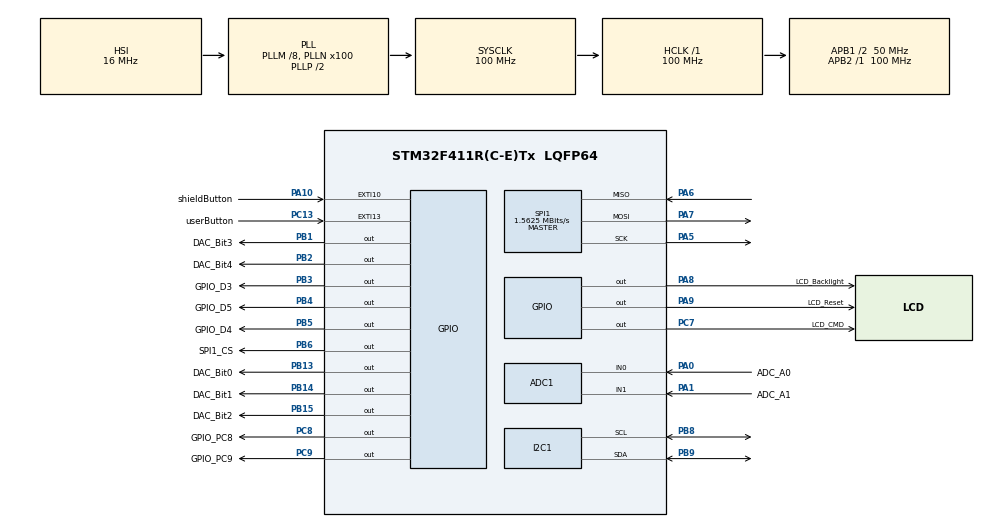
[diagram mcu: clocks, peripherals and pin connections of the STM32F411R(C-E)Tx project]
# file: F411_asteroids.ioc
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ADC1.Channel-0\#ChannelRegularConversion=ADC_CHANNEL_0
ADC1.Channel-1\#ChannelRegularConversion=ADC_CHANNEL_1
ADC1.ClockPrescaler=ADC_CLOCK_SYNC_PCLK_DIV8
ADC1.ContinuousConvMode=ENABLE
ADC1.DMAContinuousRequests=ENABLE
ADC1.EOCSelection=ADC_EOC_SEQ_CONV
ADC1.NbrOfConversion=2
ADC1.NbrOfConversionFlag=1
ADC1.Rank-0\#ChannelRegularConversion=1
ADC1.Rank-1\#ChannelRegularConversion=2
ADC1.SamplingTime-0\#ChannelRegularConversion=ADC_SAMPLETIME_480CYCLES
ADC1.SamplingTime-1\#ChannelRegularConversion=ADC_SAMPLETIME_480CYCLES
ADC1.ScanConvMode=ENABLE
ADC1.master=1
Dma.ADC1.0.Direction=DMA_PERIPH_TO_MEMORY
Dma.ADC1.0.FIFOMode=DMA_FIFOMODE_DISABLE
Dma.ADC1.0.Instance=DMA2_Stream0
Dma.ADC1.0.MemDataAlignment=DMA_MDATAALIGN_WORD
Dma.ADC1.0.MemInc=DMA_MINC_ENABLE
Dma.ADC1.0.Mode=DMA_CIRCULAR
Dma.ADC1.0.PeriphDataAlignment=DMA_PDATAALIGN_WORD
Dma.ADC1.0.PeriphInc=DMA_PINC_DISABLE
Dma.ADC1.0.Priority=DMA_PRIORITY_LOW
Dma.Request0=ADC1
Mcu.Family=STM32F4
Mcu.Name=STM32F411R(C-E)Tx
Mcu.Package=LQFP64
NVIC.DMA2_Stream0_IRQn=true\:0\:0\:false\:false\:true\:false
NVIC.EXTI15_10_IRQn=true\:0\:0\:false\:false\:true\:true
NVIC.PriorityGroup=NVIC_PRIORITYGROUP_4
NVIC.TIM1_UP_TIM10_IRQn=true\:0\:0\:false\:false\:true\:false
NVIC.TIM2_IRQn=true\:0\:0\:false\:false\:true\:true
NVIC.TIM3_IRQn=true\:0\:0\:false\:false\:true\:true
NVIC.TimeBase=TIM1_UP_TIM10_IRQn
NVIC.TimeBaseIP=TIM1
PA0-WKUP.GPIO_Label=ADC_A0
PA0-WKUP.Signal=ADCx_IN0
PA1.GPIO_Label=ADC_A1
PA1.Signal=ADCx_IN1
PA10.GPIO_Label=shieldButton
PA10.GPIO_ModeDefaultEXTI=GPIO_MODE_IT_FALLING
PA10.GPIO_PuPd=GPIO_PULLUP
PA10.Signal=GPXTI10
PA13.Mode=Serial_Wire
PA13.Signal=SYS_JTMS-SWDIO
PA14.Mode=Serial_Wire
PA14.Signal=SYS_JTCK-SWCLK
PA5.Mode=Full_Duplex_Master
PA5.Signal=SPI1_SCK
PA6.Mode=Full_Duplex_Master
PA6.Signal=SPI1_MISO
PA7.Mode=Full_Duplex_Master
PA7.Signal=SPI1_MOSI
PA8.GPIO_Label=LCD_Backlight
PA8.Signal=GPIO_Output
PA9.GPIO_Label=LCD_Reset
PA9.Signal=GPIO_Output
PB1.GPIO_Label=DAC_Bit3
PB1.Signal=GPIO_Output
PB13.GPIO_Label=DAC_Bit0
PB13.Signal=GPIO_Output
PB14.GPIO_Label=DAC_Bit1
PB14.Signal=GPIO_Output
PB15.GPIO_Label=DAC_Bit2
PB15.Signal=GPIO_Output
PB2.GPIO_Label=DAC_Bit4
PB2.Signal=GPIO_Output
PB3.GPIO_Label=GPIO_D3
PB3.Signal=GPIO_Output
PB4.GPIO_Label=GPIO_D5
PB4.Signal=GPIO_Output
PB5.GPIO_Label=GPIO_D4
PB5.Signal=GPIO_Output
PB6.GPIO_Label=SPI1_CS
PB6.Signal=GPIO_Output
PB8.Mode=I2C
PB8.Signal=I2C1_SCL
PB9.Mode=I2C
PB9.Signal=I2C1_SDA
PC13-ANTI_TAMP.GPIO_Label=userButton
PC13-ANTI_TAMP.GPIO_ModeDefaultEXTI=GPIO_MODE_IT_FALLING
PC13-ANTI_TAMP.GPIO_PuPd=GPIO_PULLUP
PC13-ANTI_TAMP.Signal=GPXTI13
PC7.GPIO_Label=LCD_CMD
PC7.Signal=GPIO_Output
PC8.GPIO_Label=GPIO_PC8
PC8.Signal=GPIO_Output
PC9.GPIO_Label=GPIO_PC9
PC9.Signal=GPIO_Output
ProjectManager.HeapSize=0x200
ProjectManager.StackSize=0x1000
ProjectManager.TargetToolchain=TrueSTUDIO
RCC.48MHZClocksFreq_Value=50000000
RCC.AHBFreq_Value=100000000
RCC.APB1CLKDivider=RCC_HCLK_DIV2
RCC.APB1Freq_Value=50000000
RCC.APB1TimFreq_Value=100000000
RCC.APB2Freq_Value=100000000
RCC.APB2TimFreq_Value=100000000
RCC.CortexFreq_Value=100000000
RCC.HCLKFreq_Value=100000000
RCC.HSE_VALUE=25000000
RCC.HSI_VALUE=16000000
RCC.LSE_VALUE=32768
RCC.PLLM=8
RCC.PLLN=100
RCC.SYSCLKFreq_VALUE=100000000
RCC.SYSCLKSource=RCC_SYSCLKSOURCE_PLLCLK
RCC.VCOOutputFreq_Value=200000000
SH.ADCx_IN0.0=ADC1_IN0,IN0
SH.ADCx_IN1.0=ADC1_IN1,IN1
SPI1.BaudRatePrescaler=SPI_BAUDRATEPRESCALER_64
SPI1.CalculateBaudRate=1.5625 MBits/s
SPI1.Direction=SPI_DIRECTION_2LINES
SPI1.Mode=SPI_MODE_MASTER
SPI1.VirtualType=VM_MASTER
TIM2.Period=999
TIM2.Prescaler=99
TIM3.Period=1020
TIM3.Prescaler=8
VP_SYS_VS_tim1.Mode=TIM1
VP_TIM2_VS_ClockSourceINT.Mode=Internal
VP_TIM3_VS_ClockSourceINT.Mode=Internal
board=F411_asteroids

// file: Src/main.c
/**
  ******************************************************************************
  * File Name          : main.c
  * Description        : Main program body
  ******************************************************************************
  ** This notice applies to any and all portions of this file
  * that are not between comment pairs USER CODE BEGIN and
  * USER CODE END. Other portions of this file, whether
  * inserted by the user or by software development tools
  * are owned by their respective copyright owners.
  *
  * COPYRIGHT(c) 2018 STMicroelectronics
  *
  * Redistribution and use in source and binary forms, with or without modification,
  * are permitted provided that the following conditions are met:
  *   1. Redistributions of source code must retain the above copyright notice,
  *      this list of conditions and the following disclaimer.
  *   2. Redistributions in binary form must reproduce the above copyright notice,
  *      this list of conditions and the following disclaimer in the documentation
  *      and/or other materials provided with the distribution.
  *   3. Neither the name of STMicroelectronics nor the names of its contributors
  *      may be used to endorse or promote products derived from this software
  *      without specific prior written permission.
  *
  * THIS SOFTWARE IS PROVIDED BY THE COPYRIGHT HOLDERS AND CONTRIBUTORS "AS IS"
  * AND ANY EXPRESS OR IMPLIED WARRANTIES, INCLUDING, BUT NOT LIMITED TO, THE
  * IMPLIED WARRANTIES OF MERCHANTABILITY AND FITNESS FOR A PARTICULAR PURPOSE ARE
  * DISCLAIMED. IN NO EVENT SHALL THE COPYRIGHT HOLDER OR CONTRIBUTORS BE LIABLE
  * FOR ANY DIRECT, INDIRECT, INCIDENTAL, SPECIAL, EXEMPLARY, OR CONSEQUENTIAL
  * DAMAGES (INCLUDING, BUT NOT LIMITED TO, PROCUREMENT OF SUBSTITUTE GOODS OR
  * SERVICES; LOSS OF USE, DATA, OR PROFITS; OR BUSINESS INTERRUPTION) HOWEVER
  * CAUSED AND ON ANY THEORY OF LIABILITY, WHETHER IN CONTRACT, STRICT LIABILITY,
  * OR TORT (INCLUDING NEGLIGENCE OR OTHERWISE) ARISING IN ANY WAY OUT OF THE USE
  * OF THIS SOFTWARE, EVEN IF ADVISED OF THE POSSIBILITY OF SUCH DAMAGE.
  *
  ******************************************************************************
  */

#include <stdlib.h>

#include "main.h"
#include "stm32f4xx_hal.h"
#include "adc.h"
#include "dma.h"
#include "i2c.h"
#include "spi.h"
#include "tim.h"
#include "gpio.h"

/* USER CODE BEGIN Includes */
#include "lcd_12864_dfrobot.h"
#include "sprite.h"
#include "Sound.h"
#include "joystick.h"
#include "bitmap.h"
#include "eeprom.h"
#include "score.h"

/* USER CODE END Includes */

/* USER CODE BEGIN PV */
/* Private variables ---------------------------------------------------------*/

/* USER CODE END PV */

void SystemClock_Config(void);

/* USER CODE BEGIN PFP */
/* Private function prototypes -----------------------------------------------*/

/* USER CODE END PFP */

/* USER CODE BEGIN 0 */
uint32_t gCounter = 0x00;

/* USER CODE END 0 */

int main(void)
{

	/* MCU Configuration----------------------------------------------------------*/

	/* Reset of all peripherals, Initializes the Flash interface and the Systick. */
	HAL_Init();

	/* Configure the system clock */
	SystemClock_Config();

	/* Initialize all configured peripherals */
	MX_GPIO_Init();
	MX_DMA_Init();
	MX_SPI1_Init();
	MX_I2C1_Init();
	MX_ADC1_Init();
	MX_TIM2_Init();
	MX_TIM3_Init();

	/* USER CODE BEGIN 2 */
	/////////////////////////////////////////////////////////
	/////////////////////////////////////////////////////////
	LCD_Config();					//config 128x64 display
	Joystick_Config();				//DMA stream for ADC - A1
	Sound_Init();					//timers and sound
	Sprite_Init();					//game init
	LCD_BacklightOn();				//backlight

	HAL_Delay(100);					//wait a bit

	EEPROM_init();					//simple read/write check

	/////////////////////////////////////////////////
	//Clear high score. comment out if not needed
//		int result = Score_Init();
//		if (result < 0)
//			while (1){};
	//////////////////////////////////////////////////

	Sprite_SetGameOverFlag();		//start with game over

	HAL_Delay(500);

	/* USER CODE END 2 */

	/* Infinite loop */
	while (1)
	{

		/* USER CODE BEGIN 3 */
		if (Sprite_GetGameOverFlag() == 1)
		{
			Sound_Play_GameOver();

			//evaluate the high score and current score
			if (Sprite_GetGameScore() > Score_GetHighScore())
			{
				while(Sprite_GetGameOverFlag() == 1)
				{
					Score_DisplayNewHighScore(Sprite_GetGameScore(), Sprite_GetGameLevel());
					HAL_Delay(1000);
					LCD_Clear(0x00);
					HAL_Delay(1000);
				}

				//update the high score and level here
				Score_SetHighScore(Sprite_GetGameScore());
				Score_SetMaxLevel(Sprite_GetGameLevel());

				Sprite_SetGameOverFlag();
			}

			HAL_Delay(2000);
		}

		///////////////////////////////////////////////////
		//Button press while game over flag is set
		//will clear the game over flag, otherwise, it fires
		while (Sprite_GetGameOverFlag() == 1)
		{
			uint8_t buffer[SCORE_PLAYER_NAME_SIZE] = {0x00};
			uint8_t buffer2[16] = {0x00};
			uint16_t highScore = Score_GetHighScore();
			uint8_t level = Score_GetMaxLevel();
			uint8_t len = Score_GetPlayerName(buffer);

			LCD_DrawStringKernLength(1, 3, buffer, len);

			int n = sprintf((char*)buffer2, "Score:%d", highScore);
			LCD_DrawStringKernLength(2, 3, buffer2, n);

			n = sprintf((char*)buffer2, "Level:%d", level);
			LCD_DrawStringKernLength(3, 3, buffer2, n);

			LCD_DrawStringKern(5, 3, " Press Button");

			HAL_Delay(1000);
			LCD_Clear(0x00);
			HAL_Delay(1000);

			Sprite_Init();                  //reset and clear all flags
		}

		///////////////////////////////////////////
		//launch any new missiles from player? - flag set in the button isr
		if (Sprite_GetMissileLaunchFlag() == 1)
		{
			Sprite_ClearMissileLaunchFlag();
			Sprite_Missile_Launch();
		}

		///////////////////////////////////////////////////
		//Read the joystick - up, down, left, right
		//and update player orientation and thruster
		JoystickPosition_t pos = Joystick_GetPosition();

		switch(pos)
		{
			case JOYSTICK_UP:		Sprite_PlayerFireThruster();		break;
			case JOYSTICK_DOWN: 	Sprite_PlayerFlipRotation();		break;
			case JOYSTICK_LEFT:		Sprite_PlayerRotateCCW();			break;
			case JOYSTICK_RIGHT:	Sprite_PlayerRotateCW();			break;
			case JOYSTICK_PRESS:										break;
			case JOYSTICK_NONE:											break;
			default:													break;
		}

		//launch a drone ever 50 game loops
		if (!(gCounter % 50))
		{
			//random number 0 -2, launch the appropriate drone
			volatile int result = rand() % 3;
			switch (result)
			{
				case 0: 	Sprite_Drone_Launch(DRONE_TYPE_SMALL);		break;
				case 1: 	Sprite_Drone_Launch(DRONE_TYPE_MEDIUM);		break;
				case 2: 	Sprite_Drone_Launch(DRONE_TYPE_LARGE);		break;
				default:	Sprite_Drone_Launch(DRONE_TYPE_SMALL);		break;
			}
		}

		Sprite_Player_Move();		//move player
		Sprite_Astroid_Move();		//move enemy
		Sprite_Missile_Move();		//move missle
		Sprite_Drone_Move();		//move the drone if there is one

		Sprite_UpdateDisplay();	//update the display

		gCounter++;

		HAL_Delay(200);
	}

  /* USER CODE END 3 */

}

/** System Clock Configuration
*/
void SystemClock_Config(void)
{

  RCC_OscInitTypeDef RCC_OscInitStruct;
  RCC_ClkInitTypeDef RCC_ClkInitStruct;

    /**Configure the main internal regulator output voltage
    */
  __HAL_RCC_PWR_CLK_ENABLE();

  __HAL_PWR_VOLTAGESCALING_CONFIG(PWR_REGULATOR_VOLTAGE_SCALE1);

    /**Initializes the CPU, AHB and APB busses clocks
    */
  RCC_OscInitStruct.OscillatorType = RCC_OSCILLATORTYPE_HSI;
  RCC_OscInitStruct.HSIState = RCC_HSI_ON;
  RCC_OscInitStruct.HSICalibrationValue = 16;
  RCC_OscInitStruct.PLL.PLLState = RCC_PLL_ON;
  RCC_OscInitStruct.PLL.PLLSource = RCC_PLLSOURCE_HSI;
  RCC_OscInitStruct.PLL.PLLM = 8;
  RCC_OscInitStruct.PLL.PLLN = 100;
  RCC_OscInitStruct.PLL.PLLP = RCC_PLLP_DIV2;
  RCC_OscInitStruct.PLL.PLLQ = 4;
  if (HAL_RCC_OscConfig(&RCC_OscInitStruct) != HAL_OK)
  {
    _Error_Handler(__FILE__, __LINE__);
  }

    /**Initializes the CPU, AHB and APB busses clocks
    */
  RCC_ClkInitStruct.ClockType = RCC_CLOCKTYPE_HCLK|RCC_CLOCKTYPE_SYSCLK
                              |RCC_CLOCKTYPE_PCLK1|RCC_CLOCKTYPE_PCLK2;
  RCC_ClkInitStruct.SYSCLKSource = RCC_SYSCLKSOURCE_PLLCLK;
  RCC_ClkInitStruct.AHBCLKDivider = RCC_SYSCLK_DIV1;
  RCC_ClkInitStruct.APB1CLKDivider = RCC_HCLK_DIV2;
  RCC_ClkInitStruct.APB2CLKDivider = RCC_HCLK_DIV1;

  if (HAL_RCC_ClockConfig(&RCC_ClkInitStruct, FLASH_LATENCY_3) != HAL_OK)
  {
    _Error_Handler(__FILE__, __LINE__);
  }

    /**Configure the Systick interrupt time
    */
  HAL_SYSTICK_Config(HAL_RCC_GetHCLKFreq()/1000);

    /**Configure the Systick
    */
  HAL_SYSTICK_CLKSourceConfig(SYSTICK_CLKSOURCE_HCLK);

  /* SysTick_IRQn interrupt configuration */
  HAL_NVIC_SetPriority(SysTick_IRQn, 0, 0);
}

void HAL_TIM_PeriodElapsedCallback(TIM_HandleTypeDef *htim)
{
	/* USER CODE BEGIN Callback 0 */
	static uint32_t counter = 0x00;

	/* USER CODE END Callback 0 */
	if (htim->Instance == TIM1)
	{
		HAL_IncTick();

		//increments at 1khz - set the backlight on 20%
		if (!(counter % 5))
		{
			LCD_BacklightOn();
		}
		else
		{
			LCD_BacklightOff();
		}

		counter++;

	}
	/* USER CODE BEGIN Callback 1 */
	////////////////////////////////////////////
	//Timer TIM2 - Not Used For Now
	if (htim->Instance == TIM2)
	{

	}

	//////////////////////////////////////
	//Timer3 - 11khz timer
	//Sound timer.  Runs when sound is playing.
	//Timer stops when sound array is done.
	//See sound.h.  NOTE: in tim.c, check the prescale
	//and reload values as 15 and 362 to get 11khz.
	if (htim->Instance == TIM3)
	{
		Sound_InterruptHandler();      //main
	}

/* USER CODE END Callback 1 */
}

void _Error_Handler(char * file, int line)
{
  while(1)
  {
  }
}

/************************ (C) COPYRIGHT STMicroelectronics *****END OF FILE****/
